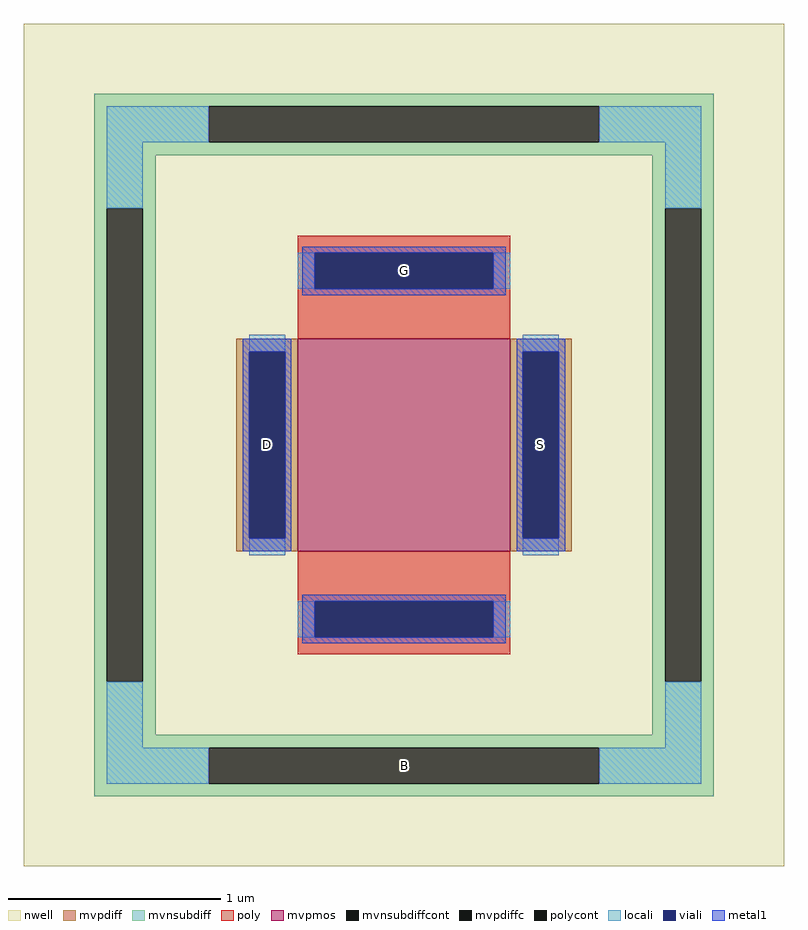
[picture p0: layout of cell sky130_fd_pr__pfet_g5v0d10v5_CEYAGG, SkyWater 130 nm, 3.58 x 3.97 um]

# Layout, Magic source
magic
tech sky130A
magscale 1 2
<< nwell >>
rect -358 -397 358 397
<< mvpmos >>
rect -100 -100 100 100
<< mvpdiff >>
rect -158 88 -100 100
rect -158 -88 -146 88
rect -112 -88 -100 88
rect -158 -100 -100 -88
rect 100 88 158 100
rect 100 -88 112 88
rect 146 -88 158 88
rect 100 -100 158 -88
<< mvpdiffc >>
rect -146 -88 -112 88
rect 112 -88 146 88
<< mvnsubdiff >>
rect -292 319 292 331
rect -292 285 -184 319
rect 184 285 292 319
rect -292 273 292 285
rect -292 223 -234 273
rect -292 -223 -280 223
rect -246 -223 -234 223
rect 234 223 292 273
rect -292 -273 -234 -223
rect 234 -223 246 223
rect 280 -223 292 223
rect 234 -273 292 -223
rect -292 -285 292 -273
rect -292 -319 -184 -285
rect 184 -319 292 -285
rect -292 -331 292 -319
<< mvnsubdiffcont >>
rect -184 285 184 319
rect -280 -223 -246 223
rect 246 -223 280 223
rect -184 -319 184 -285
<< poly >>
rect -100 181 100 197
rect -100 147 -84 181
rect 84 147 100 181
rect -100 100 100 147
rect -100 -147 100 -100
rect -100 -181 -84 -147
rect 84 -181 100 -147
rect -100 -197 100 -181
<< polycont >>
rect -84 147 84 181
rect -84 -181 84 -147
<< locali >>
rect -280 285 -184 319
rect 184 285 280 319
rect -280 223 -246 285
rect 246 223 280 285
rect -100 147 -84 181
rect 84 147 100 181
rect -146 88 -112 104
rect -146 -104 -112 -88
rect 112 88 146 104
rect 112 -104 146 -88
rect -100 -181 -84 -147
rect 84 -181 100 -147
rect -280 -285 -246 -223
rect 246 -285 280 -223
rect -280 -319 -184 -285
rect 184 -319 280 -285
<< viali >>
rect -84 147 84 181
rect -146 -88 -112 88
rect 112 -88 146 88
rect -84 -181 84 -147
<< metal1 >>
rect -96 181 96 187
rect -96 147 -84 181
rect 84 147 96 181
rect -96 141 96 147
rect -152 88 -106 100
rect -152 -88 -146 88
rect -112 -88 -106 88
rect -152 -100 -106 -88
rect 106 88 152 100
rect 106 -88 112 88
rect 146 -88 152 88
rect 106 -100 152 -88
rect -96 -147 96 -141
rect -96 -181 -84 -147
rect 84 -181 96 -147
rect -96 -187 96 -181
<< labels >>
rlabel mvnsubdiffcont 0 -302 0 -302 0 B
port 1 nsew
rlabel mvpdiffc -129 0 -129 0 0 D
port 2 nsew
rlabel mvpdiffc 129 0 129 0 0 S
port 3 nsew
rlabel polycont 0 164 0 164 0 G
port 4 nsew
<< properties >>
string FIXED_BBOX -263 -302 263 302
string gencell sky130_fd_pr__pfet_g5v0d10v5
string library sky130
string parameters w 1 l 1 m 1 nf 1 diffcov 100 polycov 100 guard 1 glc 1 grc 1 gtc 1 gbc 1 tbcov 100 rlcov 100 topc 1 botc 1 poverlap 0 doverlap 1 lmin 0.50 wmin 0.42 class mosfet compatible {sky130_fd_pr__pfet_01v8  sky130_fd_pr__pfet_01v8_lvt sky130_fd_pr__pfet_01v8_hvt  sky130_fd_pr__pfet_g5v0d10v5} full_metal 1 conn_gates 0 viasrc 100 viadrn 100 viagate 100 viagb 0 viagr 0 viagl 0 viagt 0 doports 1
<< end >>
